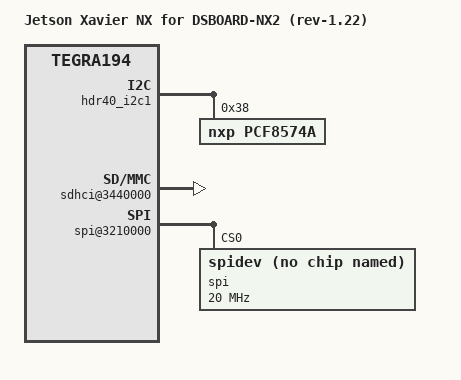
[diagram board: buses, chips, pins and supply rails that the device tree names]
/*
 * Top level DTS file for CVM:P3668-0001 and CVB:DSBOARD-NX2.
 *
 * Copyright (c) 2020-2021, Mist Elektronik Biyomedikal Ltd. Şti.  All rights reserved.
 *
 * This program is free software; you can redistribute it and/or modify
 * it under the terms of the GNU General Public License as published by
 * the Free Software Foundation; version 2 of the License.
 *
 * This program is distributed in the hope that it will be useful, but WITHOUT
 * ANY WARRANTY; without even the implied warranty of MERCHANTABILITY or
 * FITNESS FOR A PARTICULAR PURPOSE.  See the GNU General Public License for
 * more details.
 */

/dts-v1/;
#include "common/tegra194-p3668-common.dtsi"
#include "common/tegra194-p3509-0000-a00-avt.dtsi"

#undef CAM_I2C_MUX
#define CAM_I2C_MUX 	TEGRA194_MAIN_GPIO(Q, 6)

/ {
	nvidia,dtsfilename = __FILE__;
	nvidia,dtbbuildtime = __DATE__, __TIME__;
	model = "Jetson Xavier NX for DSBOARD-NX2 (rev-1.22)";

	compatible = "nvidia,p3449-0000+p3668-0000", "nvidia,p3449-0000+p3668-0001", "nvidia,p3509-0000+p3668-0000", "nvidia,p3509-0000+p3668-0001", "nvidia,tegra194";

	hdr40_i2c1: i2c@31e0000 {
		pcf8574a: gpio@38 {
			compatible = "nxp,pcf8574a";
			reg = <0x38>;
			gpio-controller;
			#gpio-cells = <2>;

			pcf8574a_outlow {
				gpio-hog;
				gpios = <0 0 1 0 2 0 3 0 4 0 5 0 6 0 7 0>;
				output-low;
			};
		};
	};

	pcie@141a0000{
		nvidia,max-speed = <2>;
	};

	cam_i2cmux{
		mux-gpios = <&tegra_main_gpio CAM_I2C_MUX GPIO_ACTIVE_HIGH>;
	};

	sdhci@3440000 {
		nvidia,vmmc-always-on;
		disable-wp;
		status = "okay";
	};

	gpio@c2f0000 {
		w-disable1 {
			gpio-hog;
			output-high;
			gpios = <TEGRA194_AON_GPIO(CC, 2) GPIO_ACTIVE_LOW>;
			label = "w-disable1";
			status = "disabled";
		};
	};

	spi@3210000{
		status = "okay";
		nvidia,clock-always-on;
		spi@0 {
			status = "okay";
			compatible = "spidev";
			reg = <0x0>;
			spi-max-frequency = <20000000>;
			nvidia,enable-hw-based-cs;
			nvidia,enable-hw-based-cs;
			nvidia,cs-setup-clk-count = <0x1e>;
			nvidia,cs-hold-clk-count = <0x1e>;
			nvidia,rx-clk-tap-delay = <0x1f>;
			nvidia,tx-clk-tap-delay = <0x0>;
		};
	};

};

